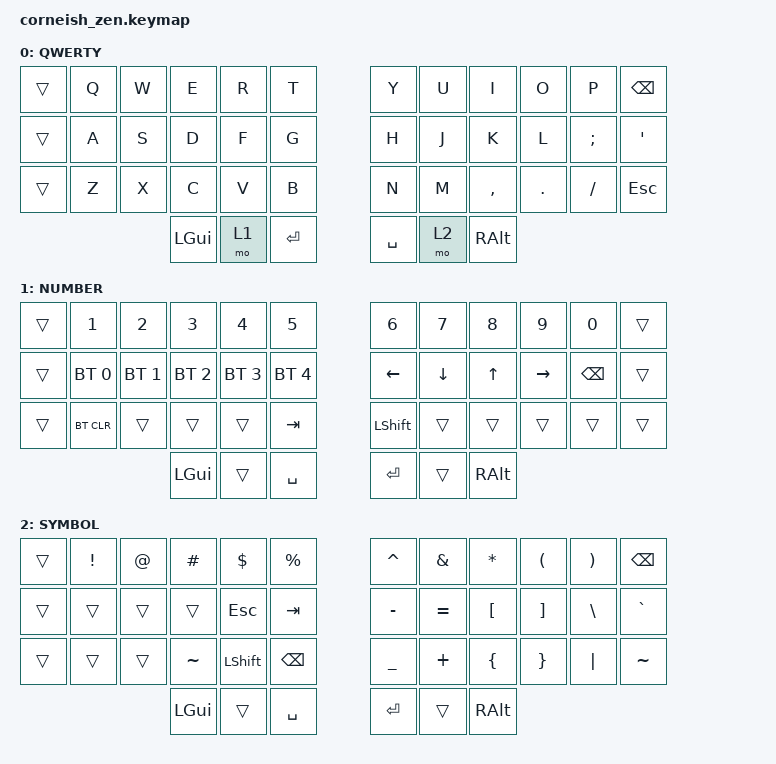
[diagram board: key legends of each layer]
/*
*
* Copyright (c) 2021 Darryl deHaan
* SPDX-License-Identifier: MIT
*
*/

#include <behaviors.dtsi>
#include <dt-bindings/zmk/bt.h>
#include <dt-bindings/zmk/keys.h>

/ {
    chosen {
        // zmk,physical-layout = &foostan_corne_6col_layout;

        zmk,physical-layout = &foostan_corne_5col_layout;
    };
};

/ {
    keymap {
        compatible = "zmk,keymap";

        default_layer {
            display-name = "QWERTY";

            // --------------------------------------------------------------------------------
            // |  TAB |  Q  |  W  |  E  |  R  |  T  |   |  Y  |  U   |  I  |  O  |  P  | BSPC |
            // | CTRL |  A  |  S  |  D  |  F  |  G  |   |  H  |  J   |  K  |  L  |  ;  |  '   |
            // | SHFT |  Z  |  X  |  C  |  V  |  B  |   |  N  |  M   |  ,  |  .  |  /  | ESC  |
            //                    | GUI | LWR | SPC |   | ENT | RSE  | ALT |

            bindings = <
&trans  &kp Q  &kp W  &kp E     &kp R  &kp T      &kp Y      &kp U  &kp I      &kp O    &kp P     &kp BSPC
&trans  &kp A  &kp S  &kp D     &kp F  &kp G      &kp H      &kp J  &kp K      &kp L    &kp SEMI  &kp SQT
&trans  &kp Z  &kp X  &kp C     &kp V  &kp B      &kp N      &kp M  &kp COMMA  &kp DOT  &kp FSLH  &kp ESC
                      &kp LGUI  &mo 1  &kp RET    &kp SPACE  &mo 2  &kp RALT
            >;
        };

        lower_layer {
            display-name = "NUMBER";

            // -----------------------------------------------------------------------------------------
            // |  TAB |  1  |  2  |  3  |  4  |  5  |   |  6  |  7  |  8  |  9  |  0  | BSPC |
            // | BTCLR| BT1 | BT2 | BT3 | BT4 | BT5 |   | LFT | DWN |  UP | RGT |     |      |
            // | SHFT |     |     |     |     |     |   |     |     |     |     |     |      |
            //                    | GUI |     | SPC |   | ENT |     | ALT |

            bindings = <
&trans  &kp N1        &kp N2        &kp N3        &kp N4        &kp N5          &kp N6          &kp N7    &kp N8    &kp N9     &kp N0         &trans
&trans  &bt BT_SEL 0  &bt BT_SEL 1  &bt BT_SEL 2  &bt BT_SEL 3  &bt BT_SEL 4    &kp LEFT        &kp DOWN  &kp UP    &kp RIGHT  &kp BACKSPACE  &trans
&trans  &bt BT_CLR    &trans        &trans        &trans        &kp TAB         &kp LEFT_SHIFT  &trans    &trans    &trans     &trans         &trans
                                    &kp LGUI      &trans        &kp SPACE       &kp RET         &trans    &kp RALT
            >;
        };

        raise_layer {
            display-name = "SYMBOL";

            // -----------------------------------------------------------------------------------------
            // |  TAB |  !  |  @  |  #  |  $  |  %  |   |  ^  |  &  |  *  |  (  |  )  | BSPC |
            // | CTRL |     |     |     |     |     |   |  -  |  =  |  [  |  ]  |  \  |  `   |
            // | SHFT |     |     |     |     |     |   |  _  |  +  |  {  |  }  | "|" |  ~   |
            //                    | GUI |     | SPC |   | ENT |     | ALT |

            bindings = <
&trans  &kp EXCL  &kp AT  &kp HASH   &kp DLLR        &kp PRCNT        &kp CARET  &kp AMPS   &kp ASTRK  &kp LPAR  &kp RPAR  &kp BSPC
&trans  &trans    &trans  &trans     &kp ESCAPE      &kp TAB          &kp MINUS  &kp EQUAL  &kp LBKT   &kp RBKT  &kp BSLH  &kp GRAVE
&trans  &trans    &trans  &kp TILDE  &kp LEFT_SHIFT  &kp BACKSPACE    &kp UNDER  &kp PLUS   &kp LBRC   &kp RBRC  &kp PIPE  &kp TILDE
                          &kp LGUI   &trans          &kp SPACE        &kp RET    &trans     &kp RALT
            >;
        };
    };
};
